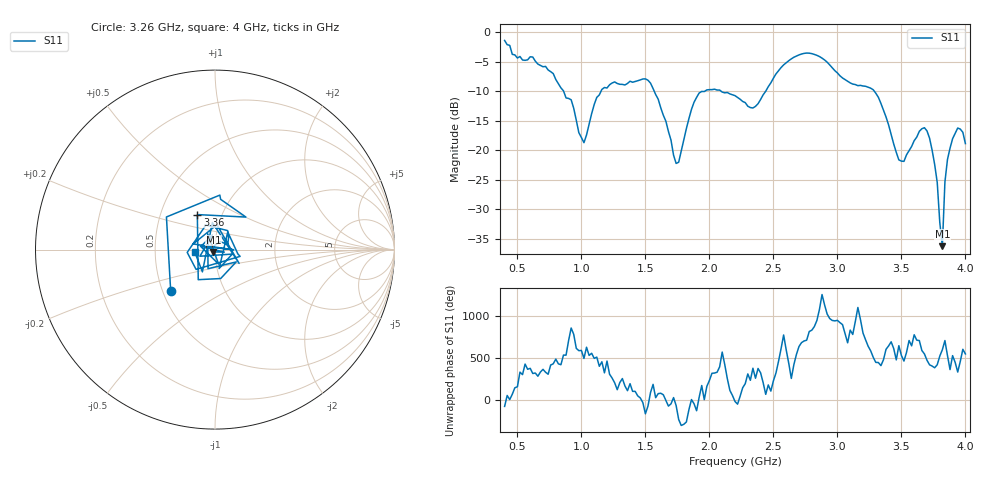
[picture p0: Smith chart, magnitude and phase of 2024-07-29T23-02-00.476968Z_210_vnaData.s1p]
!Created with skrf (http://scikit-rf.org).
# Hz S RI R 50.0
!freq ReS11 ImS11
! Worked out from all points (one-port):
!   181 points, 400 MHz to 4 GHz, reference 50 ohm
!   lowest |S11| = -36.2 dB at 3.82 GHz (marker M1), VSWR 1.03, Z = 49.1 - j1.25 ohm
!   |S11| at or under -10 dB: 1.569 GHz to 1.962 GHz (392.9 MHz wide, 22.2 % of centre); 2.093 GHz to 2.44 GHz (346.8 MHz wide, 15.3 % of centre); 3.289 GHz to end of sweep (the widest 3 of 4)
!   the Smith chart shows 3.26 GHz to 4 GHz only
!   S11 on the Smith chart (normalised r, x): 3.26 GHz: 0.55, -0.28; 3.36 GHz: 0.77, +0.31; 4 GHz: 0.80, -0.02
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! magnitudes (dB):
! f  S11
! 400 MHz  -1.4
! 720 MHz  -5.8
! 860 MHz  -9.9
! 920 MHz  -11.4
! 1.02 GHz  -18.7
! 1.12 GHz  -11.0
! 1.3 GHz  -8.8
! 1.54 GHz  -8.6
! 1.76 GHz  -22.0
! 1.86 GHz  -13.1
! 1.92 GHz  -10.3
! 2.2 GHz  -10.7
! 2.36 GHz  -12.5
! 2.66 GHz  -4.2
! 2.84 GHz  -3.9
! 3.1 GHz  -8.6
! 3.26 GHz  -9.5
! 3.36 GHz  -13.2
! 3.48 GHz  -21.6
! 3.56 GHz  -20.1
! 3.66 GHz  -16.3
! 3.72 GHz  -17.9
! 3.78 GHz  -25.4
! 3.82 GHz  -36.2
! 3.84 GHz  -25.4
! 3.86 GHz  -21.5
! 3.94 GHz  -16.2
! 4 GHz  -18.9
